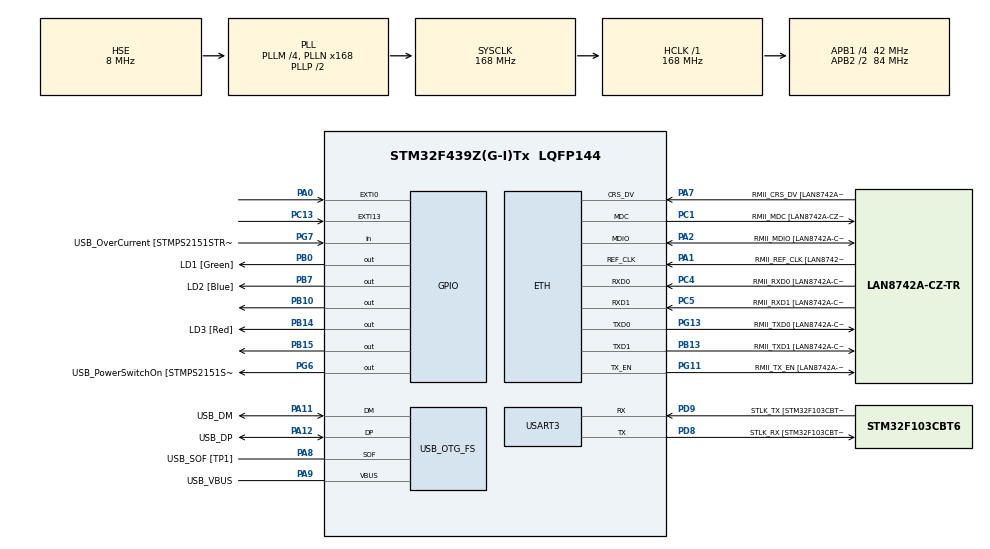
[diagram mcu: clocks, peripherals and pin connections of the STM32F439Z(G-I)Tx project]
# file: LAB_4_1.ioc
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ETH.MediaInterface=HAL_ETH_RMII_MODE
ETH.PHY_Name=LAN8742A_PHY_ADDRESS
ETH.PHY_Value=0
ETH.PhyAddress=0
Mcu.Family=STM32F4
Mcu.Name=STM32F439Z(G-I)Tx
Mcu.Package=LQFP144
NVIC.EXTI0_IRQn=true\:0\:0\:false\:false\:true\:true\:true\:true
NVIC.EXTI15_10_IRQn=true\:0\:0\:false\:false\:true\:true\:true\:true
NVIC.PriorityGroup=NVIC_PRIORITYGROUP_4
NVIC.TIM2_IRQn=true\:0\:0\:false\:false\:true\:true\:true\:true
PA0/WKUP.Signal=GPXTI0
PA1.GPIO_Label=RMII_REF_CLK [LAN8742A-CZ-TR_REFCLK0]
PA1.Mode=RMII
PA1.Signal=ETH_REF_CLK
PA10.GPIO_Label=USB_ID
PA10.Signal=USB_OTG_FS_ID
PA11.GPIO_Label=USB_DM
PA11.Mode=Device_Only
PA11.Signal=USB_OTG_FS_DM
PA12.GPIO_Label=USB_DP
PA12.Mode=Device_Only
PA12.Signal=USB_OTG_FS_DP
PA13.GPIO_Label=TMS
PA13.Mode=Serial_Wire
PA13.Signal=SYS_JTMS-SWDIO
PA14.GPIO_Label=TCK
PA14.Mode=Serial_Wire
PA14.Signal=SYS_JTCK-SWCLK
PA2.GPIO_Label=RMII_MDIO [LAN8742A-CZ-TR_MDIO]
PA2.Mode=RMII
PA2.Signal=ETH_MDIO
PA7.GPIO_Label=RMII_CRS_DV [LAN8742A-CZ-TR_CRS_DV]
PA7.Mode=RMII
PA7.Signal=ETH_CRS_DV
PA8.GPIO_Label=USB_SOF [TP1]
PA8.Mode=Activate_SOF_FS
PA8.Signal=USB_OTG_FS_SOF
PA9.GPIO_Label=USB_VBUS
PA9.Mode=Activate_VBUS
PA9.Signal=USB_OTG_FS_VBUS
PB0.GPIO_Label=LD1 [Green]
PB0.Signal=GPIO_Output
PB10.Signal=GPIO_Output
PB13.GPIO_Label=RMII_TXD1 [LAN8742A-CZ-TR_TXD1]
PB13.Mode=RMII
PB13.Signal=ETH_TXD1
PB14.GPIO_Label=LD3 [Red]
PB14.Signal=GPIO_Output
PB15.Signal=GPIO_Output
PB7.GPIO_Label=LD2 [Blue]
PB7.Signal=GPIO_Output
PC1.GPIO_Label=RMII_MDC [LAN8742A-CZ-TR_MDC]
PC1.Mode=RMII
PC1.Signal=ETH_MDC
PC13.Signal=GPXTI13
PC14/OSC32_IN.Mode=LSE-External-Oscillator
PC14/OSC32_IN.Signal=RCC_OSC32_IN
PC15/OSC32_OUT.Mode=LSE-External-Oscillator
PC15/OSC32_OUT.Signal=RCC_OSC32_OUT
PC4.GPIO_Label=RMII_RXD0 [LAN8742A-CZ-TR_RXD0]
PC4.Mode=RMII
PC4.Signal=ETH_RXD0
PC5.GPIO_Label=RMII_RXD1 [LAN8742A-CZ-TR_RXD1]
PC5.Mode=RMII
PC5.Signal=ETH_RXD1
PD8.GPIO_Label=STLK_RX [STM32F103CBT6_PA3]
PD8.Mode=Asynchronous
PD8.Signal=USART3_TX
PD9.GPIO_Label=STLK_TX [STM32F103CBT6_PA2]
PD9.Mode=Asynchronous
PD9.Signal=USART3_RX
PG11.GPIO_Label=RMII_TX_EN [LAN8742A-CZ-TR_TXEN]
PG11.Mode=RMII
PG11.Signal=ETH_TX_EN
PG13.GPIO_Label=RMII_TXD0 [LAN8742A-CZ-TR_TXD0]
PG13.Mode=RMII
PG13.Signal=ETH_TXD0
PG6.GPIO_Label=USB_PowerSwitchOn [STMPS2151STR_EN]
PG6.Signal=GPIO_Output
PG7.GPIO_Label=USB_OverCurrent [STMPS2151STR_FAULT]
PG7.Signal=GPIO_Input
PH0/OSC_IN.GPIO_Label=MCO [STM32F103CBT6_PA8]
PH0/OSC_IN.Mode=HSE-External-Clock-Source
PH0/OSC_IN.Signal=RCC_OSC_IN
PH1/OSC_OUT.Mode=HSE-External-Clock-Source
PH1/OSC_OUT.Signal=RCC_OSC_OUT
ProjectManager.HeapSize=0x200
ProjectManager.StackSize=0x400
ProjectManager.TargetToolchain=STM32CubeIDE
RCC.48MHZClocksFreq_Value=48000000
RCC.AHBFreq_Value=168000000
RCC.APB1CLKDivider=RCC_HCLK_DIV4
RCC.APB1Freq_Value=42000000
RCC.APB1TimFreq_Value=84000000
RCC.APB2CLKDivider=RCC_HCLK_DIV2
RCC.APB2Freq_Value=84000000
RCC.APB2TimCLKDivider=2
RCC.APB2TimFreq_Value=168000000
RCC.CortexFreq_Value=168000000
RCC.HCLKFreq_Value=168000000
RCC.HSE_VALUE=8000000
RCC.HSI_VALUE=16000000
RCC.PLLM=4
RCC.PLLMUL=RCC_PLL_MUL9
RCC.PLLN=168
RCC.PLLQ=7
RCC.PRESCALERUSB=RCC_USBCLKSOURCE_PLL_DIV1_5
RCC.SYSCLKFreq_VALUE=168000000
RCC.SYSCLKSource=RCC_SYSCLKSOURCE_PLLCLK
RCC.SYSCLKSourceVirtual=RCC_SYSCLKSOURCE_PLLCLK
RCC.USBFreq_Value=48000000
RCC.VCOOutputFreq_Value=336000000
TIM2.Period=2500-1
TIM2.Prescaler=8399
USART3.VirtualMode=VM_ASYNC
USB_OTG_FS.VirtualMode=Device_Only
VP_TIM2_VS_ClockSourceINT.Mode=Internal
VP_TIM3_VS_ClockSourceINT.Mode=Internal
board=NUCLEO-F439ZI

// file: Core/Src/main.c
/* USER CODE BEGIN Header */
/**
  ******************************************************************************
  * @file           : main.c
  * @brief          : Main program body
  ******************************************************************************
  * @attention
  *
  * Copyright (c) 2025 STMicroelectronics.
  * All rights reserved.
  *
  * This software is licensed under terms that can be found in the LICENSE file
  * in the root directory of this software component.
  * If no LICENSE file comes with this software, it is provided AS-IS.
  *
  ******************************************************************************
  */
/* USER CODE END Header */
#include "main.h"
#include "string.h"

ETH_TxPacketConfig TxConfig;
ETH_DMADescTypeDef  DMARxDscrTab[ETH_RX_DESC_CNT]; /* Ethernet Rx DMA Descriptors */
ETH_DMADescTypeDef  DMATxDscrTab[ETH_TX_DESC_CNT]; /* Ethernet Tx DMA Descriptors */

ETH_HandleTypeDef heth;

TIM_HandleTypeDef htim2;
TIM_HandleTypeDef htim3;

UART_HandleTypeDef huart3;

PCD_HandleTypeDef hpcd_USB_OTG_FS;

/* USER CODE BEGIN PV */
int counter=1;
int external_button=0;  // 0 = lsb->msb    1-> msb->lsb   // PA0
int user_button=0;      // PB13  user button
int speed[4]  ={2500,5000,10000,20000};
int i=0;
int previoustime;
int currenttime;
int debouncetime=200;
int Wvalue=0
		;
/* USER CODE END PV */

void SystemClock_Config(void);
static void MX_GPIO_Init(void);
static void MX_ETH_Init(void);
static void MX_USART3_UART_Init(void);
static void MX_USB_OTG_FS_PCD_Init(void);
static void MX_TIM2_Init(void);
static void MX_TIM3_Init(void);

int main(void)
{

  /* MCU Configuration--------------------------------------------------------*/

  /* Reset of all peripherals, Initializes the Flash interface and the Systick. */
  HAL_Init();

  /* Configure the system clock */
  SystemClock_Config();

  /* Initialize all configured peripherals */
  MX_GPIO_Init();
  MX_ETH_Init();
  MX_USART3_UART_Init();
  MX_USB_OTG_FS_PCD_Init();
  MX_TIM2_Init();
  MX_TIM3_Init();
  /* USER CODE BEGIN 2 */
  HAL_TIM_Base_Start_IT(&htim2);
  /* USER CODE END 2 */

  /* Infinite loop */
  while (1)
  {

  }
}

void SystemClock_Config(void)
{
  RCC_OscInitTypeDef RCC_OscInitStruct = {0};
  RCC_ClkInitTypeDef RCC_ClkInitStruct = {0};

  /** Configure the main internal regulator output voltage
  */
  __HAL_RCC_PWR_CLK_ENABLE();
  __HAL_PWR_VOLTAGESCALING_CONFIG(PWR_REGULATOR_VOLTAGE_SCALE1);

  /** Initializes the RCC Oscillators according to the specified parameters
  * in the RCC_OscInitTypeDef structure.
  */
  RCC_OscInitStruct.OscillatorType = RCC_OSCILLATORTYPE_HSE;
  RCC_OscInitStruct.HSEState = RCC_HSE_BYPASS;
  RCC_OscInitStruct.PLL.PLLState = RCC_PLL_ON;
  RCC_OscInitStruct.PLL.PLLSource = RCC_PLLSOURCE_HSE;
  RCC_OscInitStruct.PLL.PLLM = 4;
  RCC_OscInitStruct.PLL.PLLN = 168;
  RCC_OscInitStruct.PLL.PLLP = RCC_PLLP_DIV2;
  RCC_OscInitStruct.PLL.PLLQ = 7;
  if (HAL_RCC_OscConfig(&RCC_OscInitStruct) != HAL_OK)
  {
    Error_Handler();
  }

  /** Initializes the CPU, AHB and APB buses clocks
  */
  RCC_ClkInitStruct.ClockType = RCC_CLOCKTYPE_HCLK|RCC_CLOCKTYPE_SYSCLK
                              |RCC_CLOCKTYPE_PCLK1|RCC_CLOCKTYPE_PCLK2;
  RCC_ClkInitStruct.SYSCLKSource = RCC_SYSCLKSOURCE_PLLCLK;
  RCC_ClkInitStruct.AHBCLKDivider = RCC_SYSCLK_DIV1;
  RCC_ClkInitStruct.APB1CLKDivider = RCC_HCLK_DIV4;
  RCC_ClkInitStruct.APB2CLKDivider = RCC_HCLK_DIV2;

  if (HAL_RCC_ClockConfig(&RCC_ClkInitStruct, FLASH_LATENCY_5) != HAL_OK)
  {
    Error_Handler();
  }
}

static void MX_ETH_Init(void)
{

   static uint8_t MACAddr[6];

  heth.Instance = ETH;
  MACAddr[0] = 0x00;
  MACAddr[1] = 0x80;
  MACAddr[2] = 0xE1;
  MACAddr[3] = 0x00;
  MACAddr[4] = 0x00;
  MACAddr[5] = 0x00;
  heth.Init.MACAddr = &MACAddr[0];
  heth.Init.MediaInterface = HAL_ETH_RMII_MODE;
  heth.Init.TxDesc = DMATxDscrTab;
  heth.Init.RxDesc = DMARxDscrTab;
  heth.Init.RxBuffLen = 1524;

  if (HAL_ETH_Init(&heth) != HAL_OK)
  {
    Error_Handler();
  }

  memset(&TxConfig, 0 , sizeof(ETH_TxPacketConfig));
  TxConfig.Attributes = ETH_TX_PACKETS_FEATURES_CSUM | ETH_TX_PACKETS_FEATURES_CRCPAD;
  TxConfig.ChecksumCtrl = ETH_CHECKSUM_IPHDR_PAYLOAD_INSERT_PHDR_CALC;
  TxConfig.CRCPadCtrl = ETH_CRC_PAD_INSERT;

}

static void MX_TIM2_Init(void)
{

  TIM_ClockConfigTypeDef sClockSourceConfig = {0};
  TIM_MasterConfigTypeDef sMasterConfig = {0};

  htim2.Instance = TIM2;
  htim2.Init.Prescaler = 8399;
  htim2.Init.CounterMode = TIM_COUNTERMODE_UP;
  htim2.Init.Period = 2500-1;
  htim2.Init.ClockDivision = TIM_CLOCKDIVISION_DIV1;
  htim2.Init.AutoReloadPreload = TIM_AUTORELOAD_PRELOAD_DISABLE;
  if (HAL_TIM_Base_Init(&htim2) != HAL_OK)
  {
    Error_Handler();
  }
  sClockSourceConfig.ClockSource = TIM_CLOCKSOURCE_INTERNAL;
  if (HAL_TIM_ConfigClockSource(&htim2, &sClockSourceConfig) != HAL_OK)
  {
    Error_Handler();
  }
  sMasterConfig.MasterOutputTrigger = TIM_TRGO_RESET;
  sMasterConfig.MasterSlaveMode = TIM_MASTERSLAVEMODE_DISABLE;
  if (HAL_TIMEx_MasterConfigSynchronization(&htim2, &sMasterConfig) != HAL_OK)
  {
    Error_Handler();
  }

}

static void MX_TIM3_Init(void)
{

  TIM_ClockConfigTypeDef sClockSourceConfig = {0};
  TIM_MasterConfigTypeDef sMasterConfig = {0};

  htim3.Instance = TIM3;
  htim3.Init.Prescaler = 0;
  htim3.Init.CounterMode = TIM_COUNTERMODE_UP;
  htim3.Init.Period = 65535;
  htim3.Init.ClockDivision = TIM_CLOCKDIVISION_DIV1;
  htim3.Init.AutoReloadPreload = TIM_AUTORELOAD_PRELOAD_DISABLE;
  if (HAL_TIM_Base_Init(&htim3) != HAL_OK)
  {
    Error_Handler();
  }
  sClockSourceConfig.ClockSource = TIM_CLOCKSOURCE_INTERNAL;
  if (HAL_TIM_ConfigClockSource(&htim3, &sClockSourceConfig) != HAL_OK)
  {
    Error_Handler();
  }
  sMasterConfig.MasterOutputTrigger = TIM_TRGO_RESET;
  sMasterConfig.MasterSlaveMode = TIM_MASTERSLAVEMODE_DISABLE;
  if (HAL_TIMEx_MasterConfigSynchronization(&htim3, &sMasterConfig) != HAL_OK)
  {
    Error_Handler();
  }

}

static void MX_USART3_UART_Init(void)
{

  huart3.Instance = USART3;
  huart3.Init.BaudRate = 115200;
  huart3.Init.WordLength = UART_WORDLENGTH_8B;
  huart3.Init.StopBits = UART_STOPBITS_1;
  huart3.Init.Parity = UART_PARITY_NONE;
  huart3.Init.Mode = UART_MODE_TX_RX;
  huart3.Init.HwFlowCtl = UART_HWCONTROL_NONE;
  huart3.Init.OverSampling = UART_OVERSAMPLING_16;
  if (HAL_UART_Init(&huart3) != HAL_OK)
  {
    Error_Handler();
  }

}

static void MX_USB_OTG_FS_PCD_Init(void)
{

  hpcd_USB_OTG_FS.Instance = USB_OTG_FS;
  hpcd_USB_OTG_FS.Init.dev_endpoints = 4;
  hpcd_USB_OTG_FS.Init.speed = PCD_SPEED_FULL;
  hpcd_USB_OTG_FS.Init.dma_enable = DISABLE;
  hpcd_USB_OTG_FS.Init.phy_itface = PCD_PHY_EMBEDDED;
  hpcd_USB_OTG_FS.Init.Sof_enable = ENABLE;
  hpcd_USB_OTG_FS.Init.low_power_enable = DISABLE;
  hpcd_USB_OTG_FS.Init.lpm_enable = DISABLE;
  hpcd_USB_OTG_FS.Init.vbus_sensing_enable = ENABLE;
  hpcd_USB_OTG_FS.Init.use_dedicated_ep1 = DISABLE;
  if (HAL_PCD_Init(&hpcd_USB_OTG_FS) != HAL_OK)
  {
    Error_Handler();
  }

}

static void MX_GPIO_Init(void)
{
  GPIO_InitTypeDef GPIO_InitStruct = {0};

  /* GPIO Ports Clock Enable */
  __HAL_RCC_GPIOC_CLK_ENABLE();
  __HAL_RCC_GPIOH_CLK_ENABLE();
  __HAL_RCC_GPIOA_CLK_ENABLE();
  __HAL_RCC_GPIOB_CLK_ENABLE();
  __HAL_RCC_GPIOD_CLK_ENABLE();
  __HAL_RCC_GPIOG_CLK_ENABLE();

  /*Configure GPIO pin Output Level */
  HAL_GPIO_WritePin(GPIOB, LD1_Pin|GPIO_PIN_10|LD3_Pin|GPIO_PIN_15
                          |LD2_Pin, GPIO_PIN_RESET);

  /*Configure GPIO pin Output Level */
  HAL_GPIO_WritePin(USB_PowerSwitchOn_GPIO_Port, USB_PowerSwitchOn_Pin, GPIO_PIN_RESET);

  /*Configure GPIO pin : PC13 */
  GPIO_InitStruct.Pin = GPIO_PIN_13;
  GPIO_InitStruct.Mode = GPIO_MODE_IT_RISING;
  GPIO_InitStruct.Pull = GPIO_NOPULL;
  HAL_GPIO_Init(GPIOC, &GPIO_InitStruct);

  /*Configure GPIO pin : PA0 */
  GPIO_InitStruct.Pin = GPIO_PIN_0;
  GPIO_InitStruct.Mode = GPIO_MODE_IT_RISING;
  GPIO_InitStruct.Pull = GPIO_NOPULL;
  HAL_GPIO_Init(GPIOA, &GPIO_InitStruct);

  /*Configure GPIO pins : LD1_Pin PB10 LD3_Pin PB15
                           LD2_Pin */
  GPIO_InitStruct.Pin = LD1_Pin|GPIO_PIN_10|LD3_Pin|GPIO_PIN_15
                          |LD2_Pin;
  GPIO_InitStruct.Mode = GPIO_MODE_OUTPUT_PP;
  GPIO_InitStruct.Pull = GPIO_NOPULL;
  GPIO_InitStruct.Speed = GPIO_SPEED_FREQ_LOW;
  HAL_GPIO_Init(GPIOB, &GPIO_InitStruct);

  /*Configure GPIO pin : USB_PowerSwitchOn_Pin */
  GPIO_InitStruct.Pin = USB_PowerSwitchOn_Pin;
  GPIO_InitStruct.Mode = GPIO_MODE_OUTPUT_PP;
  GPIO_InitStruct.Pull = GPIO_NOPULL;
  GPIO_InitStruct.Speed = GPIO_SPEED_FREQ_LOW;
  HAL_GPIO_Init(USB_PowerSwitchOn_GPIO_Port, &GPIO_InitStruct);

  /*Configure GPIO pin : USB_OverCurrent_Pin */
  GPIO_InitStruct.Pin = USB_OverCurrent_Pin;
  GPIO_InitStruct.Mode = GPIO_MODE_INPUT;
  GPIO_InitStruct.Pull = GPIO_NOPULL;
  HAL_GPIO_Init(USB_OverCurrent_GPIO_Port, &GPIO_InitStruct);

  /* EXTI interrupt init*/
  HAL_NVIC_SetPriority(EXTI0_IRQn, 0, 0);
  HAL_NVIC_EnableIRQ(EXTI0_IRQn);

  HAL_NVIC_SetPriority(EXTI15_10_IRQn, 0, 0);
  HAL_NVIC_EnableIRQ(EXTI15_10_IRQn);

}

/* USER CODE BEGIN 4 */
void HAL_GPIO_EXTI_Callback(uint16_t GPIO_Pin)
{
  /* Prevent unused argument(s) compilation warning */
  UNUSED(GPIO_Pin);
  /* NOTE: This function Should not be modified, when the callback is needed,
           the HAL_GPIO_EXTI_Callback could be implemented in the user file
   */
  // PIN 15 FOR increment BUTTON
  // PIN 10 FOR select_BUTTON
  currenttime = HAL_GetTick();

  // user button to change speed
  if (GPIO_Pin == GPIO_PIN_13 && (currenttime-previoustime>debouncetime) ){
			  i=(i+1)%4;
			  __HAL_TIM_SET_AUTORELOAD(&htim2, speed[i]-1);
			    TIM2->CNT = 0;               // Reset counter
			    TIM2->EGR |= TIM_EGR_UG;     // Force update
			    TIM2->CR1 |= TIM_CR1_CEN;    // Restart Timer
			  previoustime=currenttime;
	  }
  // external button to change the pattern
  if (GPIO_Pin == GPIO_PIN_0 && (currenttime-previoustime>debouncetime) ){
	   external_button=!external_button;
	    if (!external_button){
	        counter=counter<<1;
	    }
	    if (external_button==1) {
	    	counter=counter>>1;
	    }
	   previoustime=currenttime;
	  }
 }

void HAL_TIM_PeriodElapsedCallback(TIM_HandleTypeDef *htim)
{
  /* Prevent unused argument(s) compilation warning */
  UNUSED(htim);

  /* NOTE : This function should not be modified, when the callback is needed,
            the HAL_TIM_PeriodElapsedCallback could be implemented in the user file
   */
  if (htim->Instance==TIM2){

		HAL_GPIO_WritePin(GPIOB, LD1_Pin, (counter&1));
		HAL_GPIO_WritePin(GPIOB, LD2_Pin, (counter&2));
		HAL_GPIO_WritePin(GPIOB, LD3_Pin, (counter&4));
		HAL_GPIO_WritePin(GPIOB, GPIO_PIN_15, (counter&8));
		HAL_GPIO_WritePin(GPIOB, GPIO_PIN_10, (counter&16));
	    if (!external_button){
	        counter=counter<<1;
	    }
	    if (external_button==1) {
	    	counter=counter>>1;
	    }

		if (counter==0){
			counter=16;
		}
		if (counter==32){
			counter=1;
		}
  }
}

/* USER CODE END 4 */

void Error_Handler(void)
{
  __disable_irq();
  while (1)
  {
  }
}
